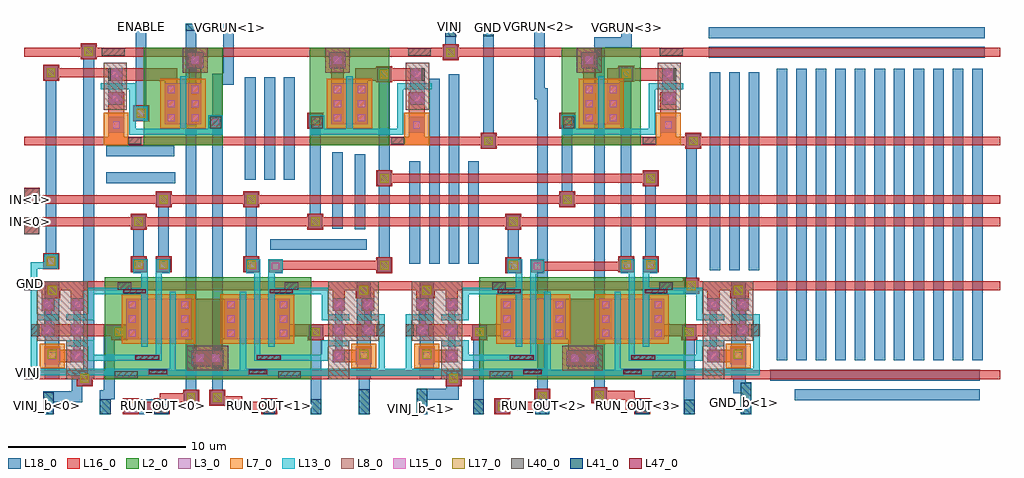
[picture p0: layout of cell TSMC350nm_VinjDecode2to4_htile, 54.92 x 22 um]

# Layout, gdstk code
from math import pi, radians
import gdstk
lib = gdstk.Library(unit=1e-6, precision=1e-09)
def R(c, l, rs):  # rectangles x0, y0, x1, y1
    for r in rs: c.add(gdstk.rectangle(r[:2], r[2:], *l))
def A(c, l, x, y, w, h, nx, ny, dx, dy):  # array of equal rectangles
    R(c, l, [(x+i*dx, y+j*dy, x+i*dx+w, y+j*dy+h) for i in range(nx) for j in range(ny)])
def P(c, l, *ps):  # polygons
    for p in ps: c.add(gdstk.Polygon(p, *l))
L2_0 = (2, 0)
L3_0 = (3, 0)
L7_0 = (7, 0)
L8_0 = (8, 0)
L13_0 = (13, 0)
L15_0 = (15, 0)
L16_0 = (16, 0)
L17_0 = (17, 0)
L18_0 = (18, 0)
L40_0 = (40, 0)
L41_0 = (41, 0)
L47_0 = (47, 0)

m1_poly1__190324780_cdns = lib.new_cell('M1_POLY1$$190324780_CDNS_745518787550')
R(m1_poly1__190324780_cdns, L13_0, [(-0.4,-0.4,0.4,0.4)])
R(m1_poly1__190324780_cdns, L15_0, [(-0.2,-0.2,0.2,0.2)])
R(m1_poly1__190324780_cdns, L16_0, [(-0.35,-0.35,0.35,0.35)])

tsmc350nm_vinjinv2 = lib.new_cell('TSMC350nm_VinjInv2')
R(tsmc350nm_vinjinv2, L2_0, [(0,0,4.45,5.5)])
R(tsmc350nm_vinjinv2, L3_0, [(5.55,0.7,6.45,1.6), (1.2,1.2,1.9,3.5), (1.2,1.2,1.9,3.5), (1.9,1.2,2.55,3.5), (2.55,1.2,3.25,3.5), (2.55,1.2,3.25,3.5), (5.65,2.3,6.45,3), (5.65,2.3,6.45,3), (5.65,3,6.45,3.65), (5.65,3.65,6.45,4.35), (5.65,3.65,6.45,4.35), (1.1,4.35,2,5.25)])
R(tsmc350nm_vinjinv2, L7_0, [(5.3,0,6.7,1.85), (0.95,0.95,3.5,3.75)])
R(tsmc350nm_vinjinv2, L8_0, [(5.4,2,6.7,4.65), (0.85,4.1,2.25,5.5)])
R(tsmc350nm_vinjinv2, L13_0, [(0,0.6,5.25,0.95), (4.9,0.6,5.25,3.5), (2.05,0.8,2.4,3.9), (5.25,3.15,6.85,3.5)])
A(tsmc350nm_vinjinv2, L15_0, 1.35, 1.35, 0.4, 0.4, 1, 3, 0, 0.8)
A(tsmc350nm_vinjinv2, L15_0, 2.7, 1.35, 0.4, 0.4, 1, 3, 0, 0.8)
R(tsmc350nm_vinjinv2, L15_0, [(5.8,0.95,6.2,1.35), (5.85,2.45,6.25,2.85), (5.85,3.8,6.25,4.2), (1.35,4.6,1.75,5)])
R(tsmc350nm_vinjinv2, L16_0, [(0,0,7.65,0.5), (5.55,0.02,6.45,3), (1.2,1.2,1.9,3.5), (1.2,1.2,1.9,5.45), (2.55,1.2,3.25,3.5), (2.55,1.2,3.25,4.25), (5.65,2.3,6.45,3), (2.55,3.65,6.45,4.35), (5.65,3.65,6.45,4.35), (0,5,7.65,5.5)])
R(tsmc350nm_vinjinv2, L40_0, [(4.57,0.06,5.32,0.47), (0.07,0.97,0.71,1.62), (6.3,3.65,6.45,4.35), (5.52,5.05,6.8,5.46)])
tsmc350nm_vinjinv2.add(gdstk.Reference(m1_poly1__190324780_cdns, (0.4,1.3)))
tsmc350nm_vinjinv2.add(gdstk.Label('& SerialNumber 000000', (5.65,3.5), layer=16, texttype=0))
tsmc350nm_vinjinv2.add(gdstk.Label('& Distributor VIS', (5.65,3.5), layer=16, texttype=0))
tsmc350nm_vinjinv2.add(gdstk.Label('& Metric 1', (5.65,3.5), layer=16, texttype=0))
tsmc350nm_vinjinv2.add(gdstk.Label('& Version    \t  1.7A', (5.65,3.5), layer=16, texttype=0))
tsmc350nm_vinjinv2.add(gdstk.Label('& PDKName     vis35cv', (5.65,3.5), layer=16, texttype=0))
tsmc350nm_vinjinv2.add(gdstk.Label('& Vendor VIS Corp.', (5.65,3.5), layer=16, texttype=0))
tsmc350nm_vinjinv2.add(gdstk.Label('& SerialNumber 000000', (2.05,1.2), layer=16, texttype=0))
tsmc350nm_vinjinv2.add(gdstk.Label('& Distributor VIS', (2.05,1.2), layer=16, texttype=0))
tsmc350nm_vinjinv2.add(gdstk.Label('& Metric 1', (2.05,1.2), layer=16, texttype=0))
tsmc350nm_vinjinv2.add(gdstk.Label('& Version    \t  1.7A', (2.05,1.2), layer=16, texttype=0))
tsmc350nm_vinjinv2.add(gdstk.Label('& PDKName     vis35cv', (2.05,1.2), layer=16, texttype=0))
tsmc350nm_vinjinv2.add(gdstk.Label('& Vendor VIS Corp.', (2.05,1.2), layer=16, texttype=0))
tsmc350nm_vinjinv2.add(gdstk.Label('& SerialNumber 000000', (2.05,1.2), layer=63, texttype=63))
tsmc350nm_vinjinv2.add(gdstk.Label('& Distributor VIS', (2.05,1.2), layer=63, texttype=63))
tsmc350nm_vinjinv2.add(gdstk.Label('& Metric 1', (2.05,1.2), layer=63, texttype=63))
tsmc350nm_vinjinv2.add(gdstk.Label('& Version    \t  1.7A', (2.05,1.2), layer=63, texttype=63))
tsmc350nm_vinjinv2.add(gdstk.Label('& PDKName     vis35cv', (2.05,1.2), layer=63, texttype=63))
tsmc350nm_vinjinv2.add(gdstk.Label('& Vendor VIS Corp.', (2.05,1.2), layer=63, texttype=63))
tsmc350nm_vinjinv2.add(gdstk.Label('& SerialNumber 000000', (5.65,3.5), layer=63, texttype=63))
tsmc350nm_vinjinv2.add(gdstk.Label('& Vendor VIS Corp.', (5.65,3.5), layer=63, texttype=63))
tsmc350nm_vinjinv2.add(gdstk.Label('& PDKName     vis35cv', (5.65,3.5), layer=63, texttype=63))
tsmc350nm_vinjinv2.add(gdstk.Label('& Version    \t  1.7A', (5.65,3.5), layer=63, texttype=63))
tsmc350nm_vinjinv2.add(gdstk.Label('& Metric 1', (5.65,3.5), layer=63, texttype=63))
tsmc350nm_vinjinv2.add(gdstk.Label('& Distributor VIS', (5.65,3.5), layer=63, texttype=63))
tsmc350nm_vinjinv2.add(gdstk.Label('OUT', (6.38,3.94), layer=40, texttype=0))
tsmc350nm_vinjinv2.add(gdstk.Label('Vinj', (6.17,5.25), layer=40, texttype=0))
tsmc350nm_vinjinv2.add(gdstk.Label('IN', (0.39,1.28), layer=40, texttype=0))
tsmc350nm_vinjinv2.add(gdstk.Label('VGND', (4.97,0.26), layer=40, texttype=0))

m1_pactive_cdns_71349154 = lib.new_cell('M1_PACTIVE_CDNS_713491541816')
R(m1_pactive_cdns_71349154, L3_0, [(-0.45,-0.45,0.45,0.45)])
R(m1_pactive_cdns_71349154, L7_0, [(-0.7,-0.7,0.7,0.7)])
R(m1_pactive_cdns_71349154, L15_0, [(-0.2,-0.2,0.2,0.2)])
R(m1_pactive_cdns_71349154, L16_0, [(-0.35,-0.35,0.35,0.35)])

m1_nwell_cdns_7134915418 = lib.new_cell('M1_NWELL_CDNS_713491541817')
R(m1_nwell_cdns_7134915418, L2_0, [(-0.65,-0.65,0.65,0.65)])
R(m1_nwell_cdns_7134915418, L3_0, [(-0.45,-0.45,0.45,0.45)])
R(m1_nwell_cdns_7134915418, L8_0, [(-0.7,-0.7,0.7,0.7)])
R(m1_nwell_cdns_7134915418, L15_0, [(-0.2,-0.2,0.2,0.2)])
R(m1_nwell_cdns_7134915418, L16_0, [(-0.35,-0.35,0.35,0.35)])

prog_periph_via2_cdns_74 = lib.new_cell('prog_periph_VIA2_CDNS_745518787551')
R(prog_periph_via2_cdns_74, L16_0, [(-0.45,-0.45,0.45,0.45)])
R(prog_periph_via2_cdns_74, L17_0, [(-0.25,-0.25,0.25,0.25)])
R(prog_periph_via2_cdns_74, L18_0, [(-0.4,-0.4,0.4,0.4)])

tsmc350nm_vinjnor3 = lib.new_cell('TSMC350nm_VinjNOR3')
R(tsmc350nm_vinjnor3, L2_0, [(0,0,6.06,5.5)])
A(tsmc350nm_vinjnor3, L3_0, 7.26, 0.95, 0.7, 0.7, 1, 3, 0, 1.45)
R(tsmc350nm_vinjnor3, L3_0, [(7.41,0.95,7.81,1.65), (8.91,0.95,9.61,1.65), (9.06,0.95,9.46,1.65), (1.2,0.97,1.9,3.27), (1.2,0.97,1.9,3.27), (1.9,0.97,4.85,3.27), (4.15,0.97,4.85,3.27), (4.15,0.97,4.85,3.27), (7.41,1.65,7.81,2.4), (9.06,1.65,9.46,2.4), (8.91,2.4,9.61,3.1), (9.06,2.4,9.46,3.1), (7.41,3.1,7.81,3.85), (7.41,3.85,7.81,4.55)])
R(tsmc350nm_vinjnor3, L7_0, [(0.95,0.72,5.11,3.52)])
P(tsmc350nm_vinjnor3, L8_0, [(8.21,5.5),(7.01,5.5),(7.01,0),(9.86,0),(9.86,3.35),(8.21,3.35)])
R(tsmc350nm_vinjnor3, L13_0, [(3.65,0.37,7.01,0.72), (6.66,0.37,7.01,2.2), (2.05,0.57,2.4,5.26), (2.85,0.57,3.2,4.47), (3.65,0.57,4,3.67), (7.01,1.85,8.21,2.2), (8.66,1.85,9.86,2.2), (9.86,1.85,10.21,5.26), (6.66,3.3,7.01,4.47), (7.01,3.3,8.21,3.65), (2.85,4.12,7.01,4.47), (2.05,4.92,10.21,5.27)])
A(tsmc350nm_vinjnor3, L15_0, 7.41, 1.1, 0.4, 0.4, 1, 3, 0, 1.45)
A(tsmc350nm_vinjnor3, L15_0, 1.35, 1.12, 0.4, 0.4, 1, 3, 0, 0.8)
A(tsmc350nm_vinjnor3, L15_0, 4.3, 1.12, 0.4, 0.4, 1, 3, 0, 0.8)
R(tsmc350nm_vinjnor3, L15_0, [(9.06,1.1,9.46,1.5), (9.06,2.55,9.46,2.95)])
A(tsmc350nm_vinjnor3, L16_0, 7.26, 0.95, 0.7, 0.7, 1, 3, 0, 1.45)
R(tsmc350nm_vinjnor3, L16_0, [(0,0,10.21,0.5), (7.26,0,7.96,1.65), (8.91,0,9.61,1.65), (8.91,0.95,9.61,1.65), (0.35,0.97,1.9,3.27), (1.2,0.97,1.9,3.27), (4.15,0.97,4.85,3.27), (0.35,1.2,1.05,5.5), (4.16,2.4,10.21,3.1), (8.91,2.4,9.61,3.1), (7.26,3.85,9.36,4.55), (0,5,10.21,5.5)])
R(tsmc350nm_vinjnor3, L18_0, [(8.62,0,9.42,0.1), (8.62,0,9.42,5.5)])
R(tsmc350nm_vinjnor3, L40_0, [(4.57,0.06,5.32,0.47), (9.75,2.41,10.2,3.09), (4.2,5.05,5.48,5.46)])
R(tsmc350nm_vinjnor3, L47_0, [(3.74,0.45,5.02,0.68), (3,4.16,4.35,4.4), (2.55,4.97,3.58,5.22)])
tsmc350nm_vinjnor3.add(gdstk.Reference(m1_pactive_cdns_71349154, (9.01,4.2)))
tsmc350nm_vinjnor3.add(gdstk.Reference(m1_nwell_cdns_7134915418, (0.7,4.32)))
tsmc350nm_vinjnor3.add(gdstk.Reference(prog_periph_via2_cdns_74, (9.02,4.1)))
tsmc350nm_vinjnor3.add(gdstk.Reference(prog_periph_via2_cdns_74, (9.02,0.5)))
tsmc350nm_vinjnor3.add(gdstk.Label('& SerialNumber 000000', (7.41,3.65), layer=16, texttype=0))
tsmc350nm_vinjnor3.add(gdstk.Label('& Distributor VIS', (7.41,3.65), layer=16, texttype=0))
tsmc350nm_vinjnor3.add(gdstk.Label('& Metric 1', (7.41,3.65), layer=16, texttype=0))
tsmc350nm_vinjnor3.add(gdstk.Label('& Version    \t  1.7A', (7.41,3.65), layer=16, texttype=0))
tsmc350nm_vinjnor3.add(gdstk.Label('& PDKName     vis35cv', (7.41,3.65), layer=16, texttype=0))
tsmc350nm_vinjnor3.add(gdstk.Label('& Vendor VIS Corp.', (7.41,3.65), layer=16, texttype=0))
tsmc350nm_vinjnor3.add(gdstk.Label('& SerialNumber 000000', (9.06,2.2), layer=16, texttype=0))
tsmc350nm_vinjnor3.add(gdstk.Label('& Distributor VIS', (9.06,2.2), layer=16, texttype=0))
tsmc350nm_vinjnor3.add(gdstk.Label('& Metric 1', (9.06,2.2), layer=16, texttype=0))
tsmc350nm_vinjnor3.add(gdstk.Label('& Version    \t  1.7A', (9.06,2.2), layer=16, texttype=0))
tsmc350nm_vinjnor3.add(gdstk.Label('& PDKName     vis35cv', (9.06,2.2), layer=16, texttype=0))
tsmc350nm_vinjnor3.add(gdstk.Label('& Vendor VIS Corp.', (9.06,2.2), layer=16, texttype=0))
tsmc350nm_vinjnor3.add(gdstk.Label('& SerialNumber 000000', (2.05,0.94), layer=16, texttype=0))
tsmc350nm_vinjnor3.add(gdstk.Label('& Distributor VIS', (2.05,0.94), layer=16, texttype=0))
tsmc350nm_vinjnor3.add(gdstk.Label('& Vendor VIS Corp.', (2.05,0.94), layer=16, texttype=0))
tsmc350nm_vinjnor3.add(gdstk.Label('& Version    \t  1.7A', (2.05,0.94), layer=16, texttype=0))
tsmc350nm_vinjnor3.add(gdstk.Label('& PDKName     vis35cv', (2.05,0.94), layer=16, texttype=0))
tsmc350nm_vinjnor3.add(gdstk.Label('& Metric 1', (2.05,0.94), layer=16, texttype=0))
tsmc350nm_vinjnor3.add(gdstk.Label('& SerialNumber 000000', (7.41,3.65), layer=63, texttype=63))
tsmc350nm_vinjnor3.add(gdstk.Label('& Distributor VIS', (7.41,3.65), layer=63, texttype=63))
tsmc350nm_vinjnor3.add(gdstk.Label('& Metric 1', (7.41,3.65), layer=63, texttype=63))
tsmc350nm_vinjnor3.add(gdstk.Label('& Version    \t  1.7A', (7.41,3.65), layer=63, texttype=63))
tsmc350nm_vinjnor3.add(gdstk.Label('& PDKName     vis35cv', (7.41,3.65), layer=63, texttype=63))
tsmc350nm_vinjnor3.add(gdstk.Label('& Vendor VIS Corp.', (7.41,3.65), layer=63, texttype=63))
tsmc350nm_vinjnor3.add(gdstk.Label('& SerialNumber 000000', (9.06,2.2), layer=63, texttype=63))
tsmc350nm_vinjnor3.add(gdstk.Label('& Distributor VIS', (9.06,2.2), layer=63, texttype=63))
tsmc350nm_vinjnor3.add(gdstk.Label('& Metric 1', (9.06,2.2), layer=63, texttype=63))
tsmc350nm_vinjnor3.add(gdstk.Label('& Version    \t  1.7A', (9.06,2.2), layer=63, texttype=63))
tsmc350nm_vinjnor3.add(gdstk.Label('& PDKName     vis35cv', (9.06,2.2), layer=63, texttype=63))
tsmc350nm_vinjnor3.add(gdstk.Label('& Vendor VIS Corp.', (9.06,2.2), layer=63, texttype=63))
tsmc350nm_vinjnor3.add(gdstk.Label('& Vendor VIS Corp.', (2.05,0.94), layer=63, texttype=63))
tsmc350nm_vinjnor3.add(gdstk.Label('& Metric 1', (2.05,0.94), layer=63, texttype=63))
tsmc350nm_vinjnor3.add(gdstk.Label('& PDKName     vis35cv', (2.05,0.94), layer=63, texttype=63))
tsmc350nm_vinjnor3.add(gdstk.Label('& Version    \t  1.7A', (2.05,0.94), layer=63, texttype=63))
tsmc350nm_vinjnor3.add(gdstk.Label('& SerialNumber 000000', (2.05,0.94), layer=63, texttype=63))
tsmc350nm_vinjnor3.add(gdstk.Label('& Distributor VIS', (2.05,0.94), layer=63, texttype=63))
tsmc350nm_vinjnor3.add(gdstk.Label('OUT', (10,2.75), layer=40, texttype=0))
tsmc350nm_vinjnor3.add(gdstk.Label('VGND', (4.97,0.26), layer=40, texttype=0))
tsmc350nm_vinjnor3.add(gdstk.Label('VINJ', (4.84,5.25), layer=40, texttype=0))
tsmc350nm_vinjnor3.add(gdstk.Label('NENABLE', (3.04,5.09), layer=47, texttype=0))
tsmc350nm_vinjnor3.add(gdstk.Label('IN1', (3.67,4.27), layer=47, texttype=0))
tsmc350nm_vinjnor3.add(gdstk.Label('IN2', (4.37,0.55), layer=47, texttype=0))

m2_m1_cdns_745518787552 = lib.new_cell('M2_M1_CDNS_745518787552')
R(m2_m1_cdns_745518787552, L16_0, [(-0.45,-0.45,0.45,0.45)])
R(m2_m1_cdns_745518787552, L17_0, [(-0.25,-0.25,0.25,0.25)])
R(m2_m1_cdns_745518787552, L18_0, [(-0.4,-0.4,0.4,0.4)])

tsmc350nm_vinjdecode2to4 = lib.new_cell('TSMC350nm_VinjDecode2to4_htile')
R(tsmc350nm_vinjdecode2to4, L2_0, [(4.54,7.49,16.16,7.72), (25.62,7.49,37.24,7.72)])
R(tsmc350nm_vinjdecode2to4, L13_0, [(4.54,2.17,37.24,2.22), (8.55,2.22,12.15,2.52), (20.31,2.22,21.47,2.57), (29.63,2.22,33.23,2.52), (0.39,5.64,0.74,8.35), (6.6,6.92,6.95,8.09), (7.4,6.92,7.75,8.09), (12.95,6.92,13.3,8.09), (13.75,6.92,14.1,8.09), (27.68,6.92,28.03,8.09), (28.48,6.92,28.83,8.09), (34.03,6.92,34.38,8.09), (34.83,6.92,35.18,8.09), (0.39,8.21,1.13,8.56)])
R(tsmc350nm_vinjdecode2to4, L16_0, [(0,1.99,0.39,2.49), (20.31,1.99,21.47,2.49), (10.25,2.49,10.45,6.52), (31.33,2.49,31.53,6.52), (20.31,6.99,21.47,7.49), (0,10.13,0.87,10.6), (0,12.35,0.9,12.75), (0,15.14,4.09,15.64), (37.91,15.14,54.92,15.64), (0,20.14,4.09,20.64), (37.91,20.14,54.92,20.64)])
R(tsmc350nm_vinjdecode2to4, L18_0, [(5.6,0,6.4,0.06), (6.4,0,7.34,0.86), (7.34,0,8.14,0.06), (16.13,0,16.73,0.85), (25.27,0,25.86,0.87), (28.77,0,29.57,0.61), (37.14,0,37.73,0.83), (4.27,0.86,5.1,1.37), (23.77,1.44,23.87,1.64), (40.52,1.8,40.6,1.99)])
P(tsmc350nm_vinjdecode2to4, L18_0, [(25.87,0),(25.87,4.34),(25.63,4.34),(25.63,4.94),(25.27,4.94),(25.27,0)])
R(tsmc350nm_vinjdecode2to4, L40_0, [(0,1.99,0.5,2.49), (0,6.99,0.51,7.49), (0,10.13,0.87,11.1), (0,11.85,0.9,12.74)])
R(tsmc350nm_vinjdecode2to4, L41_0, [(1.07,0,1.67,1.25), (4.27,0,4.87,0.86), (7.34,0,8.14,0.86), (13.5,0,14.1,0.86), (16.14,0,16.72,0.85), (18.85,0,19.45,1.41), (22.1,0,22.7,1.44), (25.28,0,25.87,0.87), (28.77,0,29.57,0.86), (34.39,0,35.19,0.86), (37.14,0,37.73,0.83), (40.32,0,40.92,1.79), (23.7,21.26,24.31,22), (25.84,21.28,26.44,22), (33.6,21.54,34.2,22), (9.1,21.59,9.7,22), (11.2,21.6,11.8,22), (6.29,21.66,6.89,22), (28.7,21.71,29.3,22)])
tsmc350nm_vinjdecode2to4.add(gdstk.FlexPath([(31.1,20.39),(24,20.39)], 0.5, ends="flush", simple_path=True, layer=16, datatype=0))  # L16_0
tsmc350nm_vinjdecode2to4.add(gdstk.FlexPath([(31.1,15.39),(26.14,15.39)], 0.5, ends="flush", simple_path=True, layer=16, datatype=0))  # L16_0
tsmc350nm_vinjdecode2to4.add(gdstk.FlexPath([(24,20.39),(23.74,20.39)], 0.5, ends="flush", simple_path=True, layer=16, datatype=0))  # L16_0
tsmc350nm_vinjdecode2to4.add(gdstk.FlexPath([(23.74,15.39),(26.14,15.39)], 0.5, ends="flush", simple_path=True, layer=16, datatype=0))  # L16_0
tsmc350nm_vinjdecode2to4.add(gdstk.FlexPath([(5.94,0.46),(7.9,0.46),(7.9,0.94)], 0.5, ends=(0, 0.25), simple_path=True, layer=16, datatype=0))  # L16_0
tsmc350nm_vinjdecode2to4.add(gdstk.FlexPath([(13.68,0.46),(12.03,0.46),(12.03,0.78)], 0.5, ends=(0, 0.25), simple_path=True, layer=16, datatype=0))  # L16_0
tsmc350nm_vinjdecode2to4.add(gdstk.FlexPath([(32.38,1.09),(34.11,1.09)], 0.5, ends=(0, 0.25), simple_path=True, layer=16, datatype=0))  # L16_0
tsmc350nm_vinjdecode2to4.add(gdstk.FlexPath([(12.03,0.78),(10.88,0.78)], 0.5, ends=(0.25, 0), simple_path=True, layer=16, datatype=0))  # L16_0
tsmc350nm_vinjdecode2to4.add(gdstk.FlexPath([(7.9,0.94),(9.4,0.94)], 0.5, ends=(0.25, 0), simple_path=True, layer=16, datatype=0))  # L16_0
tsmc350nm_vinjdecode2to4.add(gdstk.FlexPath([(34.11,1.09),(34.11,0.46),(34.88,0.46)], 0.5, ends=(0.25, 0), simple_path=True, layer=16, datatype=0))  # L16_0
tsmc350nm_vinjdecode2to4.add(gdstk.FlexPath([(29.17,1.01),(29.17,0.46),(26.94,0.46)], 0.5, ends="flush", simple_path=True, layer=16, datatype=0))  # L16_0
tsmc350nm_vinjdecode2to4.add(gdstk.FlexPath([(20.27,8.39),(14.15,8.39)], 0.5, ends=(0, 0.25), simple_path=True, layer=16, datatype=0))  # L16_0
tsmc350nm_vinjdecode2to4.add(gdstk.FlexPath([(35.26,13.3),(20.27,13.3)], 0.5, ends="flush", simple_path=True, layer=16, datatype=0))  # L16_0
tsmc350nm_vinjdecode2to4.add(gdstk.FlexPath([(4.84,19.24),(1.8,19.24)], 0.5, ends="flush", simple_path=True, layer=16, datatype=0))  # L16_0
tsmc350nm_vinjdecode2to4.add(gdstk.FlexPath([(14.15,8.39),(14.15,8.34)], 0.5, ends=(0.25, 0), simple_path=True, layer=16, datatype=0))  # L16_0
tsmc350nm_vinjdecode2to4.add(gdstk.FlexPath([(28.88,8.34),(33.98,8.34)], 0.5, ends="flush", simple_path=True, layer=16, datatype=0))  # L16_0
tsmc350nm_vinjdecode2to4.add(gdstk.FlexPath([(16.86,15.39),(9.5,15.39)], 0.5, ends="flush", simple_path=True, layer=16, datatype=0))  # L16_0
tsmc350nm_vinjdecode2to4.add(gdstk.FlexPath([(16.86,20.39),(9.5,20.39)], 0.5, ends="flush", simple_path=True, layer=16, datatype=0))  # L16_0
tsmc350nm_vinjdecode2to4.add(gdstk.FlexPath([(41.39,7.24),(54.92,7.24)], 0.5, ends="flush", simple_path=True, layer=16, datatype=0))  # L16_0
tsmc350nm_vinjdecode2to4.add(gdstk.FlexPath([(41.39,2.24),(54.92,2.24)], 0.5, ends="flush", simple_path=True, layer=16, datatype=0))  # L16_0
tsmc350nm_vinjdecode2to4.add(gdstk.FlexPath([(0,12.1),(54.92,12.1)], 0.5, ends="flush", simple_path=True, layer=16, datatype=0))  # L16_0
tsmc350nm_vinjdecode2to4.add(gdstk.FlexPath([(0,10.85),(54.92,10.85)], 0.5, ends="flush", simple_path=True, layer=16, datatype=0))  # L16_0
tsmc350nm_vinjdecode2to4.add(gdstk.FlexPath([(0.5,7.24),(0,7.24)], 0.5, ends="flush", simple_path=True, layer=16, datatype=0))  # L16_0
tsmc350nm_vinjdecode2to4.add(gdstk.FlexPath([(1.37,1.25),(1.37,1)], 0.6, ends=(0, 0.3), simple_path=True, layer=18, datatype=0))  # L18_0
tsmc350nm_vinjdecode2to4.add(gdstk.FlexPath([(2.98,2.04),(2.98,1)], 0.6, ends="extended", simple_path=True, layer=18, datatype=0))  # L18_0
tsmc350nm_vinjdecode2to4.add(gdstk.FlexPath([(2.98,1),(1.37,1)], 0.6, ends="extended", simple_path=True, layer=18, datatype=0))  # L18_0
tsmc350nm_vinjdecode2to4.add(gdstk.FlexPath([(1.37,1),(1.37,0)], 0.6, ends=(0.3, 0), simple_path=True, layer=18, datatype=0))  # L18_0
tsmc350nm_vinjdecode2to4.add(gdstk.FlexPath([(3.42,2.04),(2.98,2.04)], 0.6, ends=(0, 0.3), simple_path=True, layer=18, datatype=0))  # L18_0
tsmc350nm_vinjdecode2to4.add(gdstk.FlexPath([(40.62,1.5),(40.62,0)], 0.6, ends=(0.3, 0), simple_path=True, layer=18, datatype=0))  # L18_0
tsmc350nm_vinjdecode2to4.add(gdstk.FlexPath([(40.22,1.5),(40.62,1.5)], 0.6, ends="extended", simple_path=True, layer=18, datatype=0))  # L18_0
tsmc350nm_vinjdecode2to4.add(gdstk.FlexPath([(40.22,2.14),(40.22,1.5)], 0.6, ends=(0, 0.3), simple_path=True, layer=18, datatype=0))  # L18_0
tsmc350nm_vinjdecode2to4.add(gdstk.FlexPath([(22.4,1.14),(22.4,0)], 0.6, ends=(0.3, 0), simple_path=True, layer=18, datatype=0))  # L18_0
tsmc350nm_vinjdecode2to4.add(gdstk.FlexPath([(24.17,1.14),(22.4,1.14)], 0.6, ends="extended", simple_path=True, layer=18, datatype=0))  # L18_0
tsmc350nm_vinjdecode2to4.add(gdstk.FlexPath([(24.17,2.04),(24.17,1.14)], 0.6, ends=(0, 0.3), simple_path=True, layer=18, datatype=0))  # L18_0
tsmc350nm_vinjdecode2to4.add(gdstk.FlexPath([(19.15,2.06),(19.15,0)], 0.6, ends="flush", simple_path=True, layer=18, datatype=0))  # L18_0
tsmc350nm_vinjdecode2to4.add(gdstk.FlexPath([(3.64,20.43),(3.64,2.04)], 0.6, ends="flush", simple_path=True, layer=18, datatype=0))  # L18_0
tsmc350nm_vinjdecode2to4.add(gdstk.FlexPath([(24,20.39),(24,22)], 0.6, ends="flush", simple_path=True, layer=18, datatype=0))  # L18_0
tsmc350nm_vinjdecode2to4.add(gdstk.FlexPath([(26.14,15.39),(26.14,22)], 0.6, ends="flush", simple_path=True, layer=18, datatype=0))  # L18_0
tsmc350nm_vinjdecode2to4.add(gdstk.FlexPath([(9.4,1.02),(9.4,22)], 0.6, ends="flush", simple_path=True, layer=18, datatype=0))  # L18_0
tsmc350nm_vinjdecode2to4.add(gdstk.FlexPath([(13.8,0),(13.8,0.46)], 0.6, ends="flush", simple_path=True, layer=18, datatype=0))  # L18_0
tsmc350nm_vinjdecode2to4.add(gdstk.FlexPath([(10.88,18.58),(10.88,0.92)], 0.6, ends=(0.3, 0), simple_path=True, layer=18, datatype=0))  # L18_0
tsmc350nm_vinjdecode2to4.add(gdstk.FlexPath([(32.38,20.93),(32.38,1.09)], 0.6, ends=(0.3, 0), simple_path=True, layer=18, datatype=0))  # L18_0
tsmc350nm_vinjdecode2to4.add(gdstk.FlexPath([(26.9,0.46),(26.9,0)], 0.6, ends="flush", simple_path=True, layer=18, datatype=0))  # L18_0
tsmc350nm_vinjdecode2to4.add(gdstk.FlexPath([(29.17,18.05),(29.17,1.01)], 0.6, ends=(0.3, 0), simple_path=True, layer=18, datatype=0))  # L18_0
tsmc350nm_vinjdecode2to4.add(gdstk.FlexPath([(34.8,0),(34.8,0.46)], 0.6, ends="flush", simple_path=True, layer=18, datatype=0))  # L18_0
tsmc350nm_vinjdecode2to4.add(gdstk.FlexPath([(11.5,22),(11.5,18.86)], 0.6, ends=(0, 0.3), simple_path=True, layer=18, datatype=0))  # L18_0
tsmc350nm_vinjdecode2to4.add(gdstk.FlexPath([(11.5,18.86),(10.88,18.86)], 0.6, ends="extended", simple_path=True, layer=18, datatype=0))  # L18_0
tsmc350nm_vinjdecode2to4.add(gdstk.FlexPath([(10.88,18.86),(10.88,18.58)], 0.6, ends=(0.3, 0), simple_path=True, layer=18, datatype=0))  # L18_0
tsmc350nm_vinjdecode2to4.add(gdstk.FlexPath([(29,22),(29,18.05)], 0.6, ends=(0, 0.3), simple_path=True, layer=18, datatype=0))  # L18_0
tsmc350nm_vinjdecode2to4.add(gdstk.FlexPath([(29,18.05),(29.17,18.05)], 0.6, ends="extended", simple_path=True, layer=18, datatype=0))  # L18_0
tsmc350nm_vinjdecode2to4.add(gdstk.FlexPath([(33.9,22),(33.9,20.93)], 0.6, ends=(0, 0.3), simple_path=True, layer=18, datatype=0))  # L18_0
tsmc350nm_vinjdecode2to4.add(gdstk.FlexPath([(33.9,20.93),(32.38,20.93)], 0.6, ends="extended", simple_path=True, layer=18, datatype=0))  # L18_0
tsmc350nm_vinjdecode2to4.add(gdstk.FlexPath([(53.77,2.21),(41.99,2.21)], 0.6, ends="flush", simple_path=True, layer=18, datatype=0))  # L18_0
tsmc350nm_vinjdecode2to4.add(gdstk.FlexPath([(18.91,14.63),(18.91,10.41)], 0.6, ends="flush", simple_path=True, layer=18, datatype=0))  # L18_0
tsmc350nm_vinjdecode2to4.add(gdstk.FlexPath([(17.65,14.75),(17.65,10.45)], 0.6, ends="flush", simple_path=True, layer=18, datatype=0))  # L18_0
tsmc350nm_vinjdecode2to4.add(gdstk.FlexPath([(4.63,14.83),(8.45,14.83)], 0.6, ends="flush", simple_path=True, layer=18, datatype=0))  # L18_0
tsmc350nm_vinjdecode2to4.add(gdstk.FlexPath([(4.63,13.32),(8.51,13.32)], 0.6, ends="flush", simple_path=True, layer=18, datatype=0))  # L18_0
tsmc350nm_vinjdecode2to4.add(gdstk.FlexPath([(13.87,9.57),(19.3,9.57)], 0.6, ends="flush", simple_path=True, layer=18, datatype=0))  # L18_0
tsmc350nm_vinjdecode2to4.add(gdstk.FlexPath([(38.53,21.48),(54.07,21.48)], 0.6, ends="flush", simple_path=True, layer=18, datatype=0))  # L18_0
tsmc350nm_vinjdecode2to4.add(gdstk.FlexPath([(38.53,20.38),(54.07,20.38)], 0.6, ends="flush", simple_path=True, layer=18, datatype=0))  # L18_0
tsmc350nm_vinjdecode2to4.add(gdstk.FlexPath([(43.38,1.11),(53.79,1.11)], 0.6, ends="flush", simple_path=True, layer=18, datatype=0))  # L18_0
tsmc350nm_vinjdecode2to4.add(gdstk.FlexPath([(12.73,13.22),(12.73,18.99)], 0.6, ends="flush", simple_path=True, layer=18, datatype=0))  # L18_0
tsmc350nm_vinjdecode2to4.add(gdstk.FlexPath([(13.83,13.22),(13.83,18.99)], 0.6, ends="flush", simple_path=True, layer=18, datatype=0))  # L18_0
tsmc350nm_vinjdecode2to4.add(gdstk.FlexPath([(14.93,13.22),(14.93,18.99)], 0.6, ends="flush", simple_path=True, layer=18, datatype=0))  # L18_0
tsmc350nm_vinjdecode2to4.add(gdstk.FlexPath([(41.08,8.11),(41.08,19.26)], 0.6, ends="flush", simple_path=True, layer=18, datatype=0))  # L18_0
tsmc350nm_vinjdecode2to4.add(gdstk.FlexPath([(39.98,8.11),(39.98,19.26)], 0.6, ends="flush", simple_path=True, layer=18, datatype=0))  # L18_0
tsmc350nm_vinjdecode2to4.add(gdstk.FlexPath([(38.88,8.11),(38.88,19.26)], 0.6, ends="flush", simple_path=True, layer=18, datatype=0))  # L18_0
tsmc350nm_vinjdecode2to4.add(gdstk.FlexPath([(25.29,8.47),(25.29,14.24)], 0.6, ends="flush", simple_path=True, layer=18, datatype=0))  # L18_0
tsmc350nm_vinjdecode2to4.add(gdstk.FlexPath([(24.19,8.47),(24.19,19.14)], 0.6, ends="flush", simple_path=True, layer=18, datatype=0))  # L18_0
tsmc350nm_vinjdecode2to4.add(gdstk.FlexPath([(23.09,8.47),(23.09,18.9)], 0.6, ends="flush", simple_path=True, layer=18, datatype=0))  # L18_0
tsmc350nm_vinjdecode2to4.add(gdstk.FlexPath([(21.99,8.47),(21.99,14.24)], 0.6, ends="flush", simple_path=True, layer=18, datatype=0))  # L18_0
tsmc350nm_vinjdecode2to4.add(gdstk.FlexPath([(42.65,3.04),(42.65,19.46)], 0.6, ends="flush", simple_path=True, layer=18, datatype=0))  # L18_0
tsmc350nm_vinjdecode2to4.add(gdstk.FlexPath([(43.75,3.04),(43.75,19.46)], 0.6, ends="flush", simple_path=True, layer=18, datatype=0))  # L18_0
tsmc350nm_vinjdecode2to4.add(gdstk.FlexPath([(49.25,3.04),(49.25,19.46)], 0.6, ends="flush", simple_path=True, layer=18, datatype=0))  # L18_0
tsmc350nm_vinjdecode2to4.add(gdstk.FlexPath([(51.45,3.04),(51.45,19.46)], 0.6, ends="flush", simple_path=True, layer=18, datatype=0))  # L18_0
tsmc350nm_vinjdecode2to4.add(gdstk.FlexPath([(52.55,3.04),(52.55,19.46)], 0.6, ends="flush", simple_path=True, layer=18, datatype=0))  # L18_0
tsmc350nm_vinjdecode2to4.add(gdstk.FlexPath([(37.56,15.39),(37.56,7.24)], 0.6, ends="flush", simple_path=True, layer=18, datatype=0))  # L18_0
tsmc350nm_vinjdecode2to4.add(gdstk.FlexPath([(20.27,19.15),(20.27,8.39)], 0.6, ends="flush", simple_path=True, layer=18, datatype=0))  # L18_0
tsmc350nm_vinjdecode2to4.add(gdstk.FlexPath([(35.26,8.71),(35.26,13.3)], 0.6, ends="flush", simple_path=True, layer=18, datatype=0))  # L18_0
tsmc350nm_vinjdecode2to4.add(gdstk.FlexPath([(33.88,19.18),(33.88,8.44)], 0.6, ends="flush", simple_path=True, layer=18, datatype=0))  # L18_0
tsmc350nm_vinjdecode2to4.add(gdstk.FlexPath([(1.52,8.62),(1.52,19.24)], 0.6, ends="flush", simple_path=True, layer=18, datatype=0))  # L18_0
tsmc350nm_vinjdecode2to4.add(gdstk.FlexPath([(6.59,16.54),(6.59,22)], 0.6, ends="flush", simple_path=True, layer=18, datatype=0))  # L18_0
tsmc350nm_vinjdecode2to4.add(gdstk.FlexPath([(6.45,8.44),(6.45,10.85)], 0.6, ends="flush", simple_path=True, layer=18, datatype=0))  # L18_0
tsmc350nm_vinjdecode2to4.add(gdstk.FlexPath([(53.65,3.04),(53.65,19.46)], 0.6, ends="flush", simple_path=True, layer=18, datatype=0))  # L18_0
tsmc350nm_vinjdecode2to4.add(gdstk.FlexPath([(4.57,0),(4.57,0.56)], 0.6, ends=(0, 0.3), simple_path=True, layer=18, datatype=0))  # L18_0
tsmc350nm_vinjdecode2to4.add(gdstk.FlexPath([(7.85,8.44),(7.85,12.1)], 0.6, ends="flush", simple_path=True, layer=18, datatype=0))  # L18_0
tsmc350nm_vinjdecode2to4.add(gdstk.FlexPath([(16.39,16.54),(16.39,10.85)], 0.6, ends="flush", simple_path=True, layer=18, datatype=0))  # L18_0
tsmc350nm_vinjdecode2to4.add(gdstk.FlexPath([(4.8,1.67),(4.8,5.04)], 0.6, ends=(0.3, 0), simple_path=True, layer=18, datatype=0))  # L18_0
tsmc350nm_vinjdecode2to4.add(gdstk.FlexPath([(16.43,0),(16.43,4.64)], 0.6, ends="flush", simple_path=True, layer=18, datatype=0))  # L18_0
tsmc350nm_vinjdecode2to4.add(gdstk.FlexPath([(37.43,0),(37.43,4.64)], 0.6, ends="flush", simple_path=True, layer=18, datatype=0))  # L18_0
tsmc350nm_vinjdecode2to4.add(gdstk.FlexPath([(12.79,8.44),(12.79,12.1)], 0.6, ends="flush", simple_path=True, layer=18, datatype=0))  # L18_0
tsmc350nm_vinjdecode2to4.add(gdstk.FlexPath([(27.53,8.39),(27.53,10.85)], 0.6, ends="flush", simple_path=True, layer=18, datatype=0))  # L18_0
tsmc350nm_vinjdecode2to4.add(gdstk.FlexPath([(30.56,12.1),(30.56,16.54)], 0.6, ends="flush", simple_path=True, layer=18, datatype=0))  # L18_0
tsmc350nm_vinjdecode2to4.add(gdstk.FlexPath([(50.35,3.04),(50.35,19.46)], 0.6, ends="flush", simple_path=True, layer=18, datatype=0))  # L18_0
tsmc350nm_vinjdecode2to4.add(gdstk.FlexPath([(45.95,3.04),(45.95,19.46)], 0.6, ends="flush", simple_path=True, layer=18, datatype=0))  # L18_0
tsmc350nm_vinjdecode2to4.add(gdstk.FlexPath([(44.85,3.04),(44.85,19.46)], 0.6, ends="flush", simple_path=True, layer=18, datatype=0))  # L18_0
tsmc350nm_vinjdecode2to4.add(gdstk.FlexPath([(47.05,3.04),(47.05,19.46)], 0.6, ends="flush", simple_path=True, layer=18, datatype=0))  # L18_0
tsmc350nm_vinjdecode2to4.add(gdstk.FlexPath([(48.15,3.04),(48.15,19.46)], 0.6, ends="flush", simple_path=True, layer=18, datatype=0))  # L18_0
tsmc350nm_vinjdecode2to4.add(gdstk.Reference(tsmc350nm_vinjinv2, (11.18,15.14), rotation=pi, x_reflection=True))
tsmc350nm_vinjdecode2to4.add(gdstk.Reference(tsmc350nm_vinjinv2, (30.26,15.14)))
tsmc350nm_vinjdecode2to4.add(gdstk.Reference(tsmc350nm_vinjinv2, (16.09,15.14)))
tsmc350nm_vinjdecode2to4.add(gdstk.Reference(tsmc350nm_vinjnor3, (31.68,7.49), rotation=pi))
tsmc350nm_vinjdecode2to4.add(gdstk.Reference(tsmc350nm_vinjnor3, (10.6,7.49), rotation=pi))
tsmc350nm_vinjdecode2to4.add(gdstk.Reference(tsmc350nm_vinjnor3, (31.18,7.49), x_reflection=True))
tsmc350nm_vinjdecode2to4.add(gdstk.Reference(tsmc350nm_vinjnor3, (10.1,7.49), x_reflection=True))
tsmc350nm_vinjdecode2to4.add(gdstk.Reference(m1_poly1__190324780_cdns, (27.63,8.34)))
tsmc350nm_vinjdecode2to4.add(gdstk.Reference(m1_poly1__190324780_cdns, (28.88,8.34)))
tsmc350nm_vinjdecode2to4.add(gdstk.Reference(m1_poly1__190324780_cdns, (6.55,8.34)))
tsmc350nm_vinjdecode2to4.add(gdstk.Reference(m1_poly1__190324780_cdns, (35.23,8.34)))
tsmc350nm_vinjdecode2to4.add(gdstk.Reference(m1_poly1__190324780_cdns, (7.8,8.34)))
tsmc350nm_vinjdecode2to4.add(gdstk.Reference(m1_poly1__190324780_cdns, (12.9,8.34)))
tsmc350nm_vinjdecode2to4.add(gdstk.Reference(m1_poly1__190324780_cdns, (33.98,8.34)))
tsmc350nm_vinjdecode2to4.add(gdstk.Reference(m1_poly1__190324780_cdns, (14.15,8.34)))
tsmc350nm_vinjdecode2to4.add(gdstk.Reference(m1_poly1__190324780_cdns, (1.53,8.61)))
tsmc350nm_vinjdecode2to4.add(gdstk.Reference(m1_poly1__190324780_cdns, (6.55,16.94)))
tsmc350nm_vinjdecode2to4.add(gdstk.Reference(prog_periph_via2_cdns_74, (7.74,0.46)))
tsmc350nm_vinjdecode2to4.add(gdstk.Reference(prog_periph_via2_cdns_74, (26.91,0.46)))
tsmc350nm_vinjdecode2to4.add(gdstk.Reference(prog_periph_via2_cdns_74, (34.79,0.46)))
tsmc350nm_vinjdecode2to4.add(gdstk.Reference(prog_periph_via2_cdns_74, (27.53,8.39)))
tsmc350nm_vinjdecode2to4.add(gdstk.Reference(prog_periph_via2_cdns_74, (12.79,12.1)))
tsmc350nm_vinjdecode2to4.add(gdstk.Reference(prog_periph_via2_cdns_74, (30.56,16.54)))
tsmc350nm_vinjdecode2to4.add(gdstk.Reference(prog_periph_via2_cdns_74, (27.53,10.85)))
tsmc350nm_vinjdecode2to4.add(gdstk.Reference(prog_periph_via2_cdns_74, (20.27,19.15)))
tsmc350nm_vinjdecode2to4.add(gdstk.Reference(prog_periph_via2_cdns_74, (12.8,8.44)))
tsmc350nm_vinjdecode2to4.add(gdstk.Reference(prog_periph_via2_cdns_74, (20.27,8.39)))
tsmc350nm_vinjdecode2to4.add(gdstk.Reference(prog_periph_via2_cdns_74, (30.56,12.1)))
tsmc350nm_vinjdecode2to4.add(gdstk.Reference(prog_periph_via2_cdns_74, (33.88,8.44)))
tsmc350nm_vinjdecode2to4.add(gdstk.Reference(prog_periph_via2_cdns_74, (35.26,13.3)))
tsmc350nm_vinjdecode2to4.add(gdstk.Reference(prog_periph_via2_cdns_74, (33.88,19.18)))
tsmc350nm_vinjdecode2to4.add(gdstk.Reference(prog_periph_via2_cdns_74, (20.27,13.3)))
tsmc350nm_vinjdecode2to4.add(gdstk.Reference(prog_periph_via2_cdns_74, (35.26,8.44)))
tsmc350nm_vinjdecode2to4.add(gdstk.Reference(prog_periph_via2_cdns_74, (1.52,8.62)))
tsmc350nm_vinjdecode2to4.add(gdstk.Reference(prog_periph_via2_cdns_74, (1.52,19.24)))
tsmc350nm_vinjdecode2to4.add(gdstk.Reference(prog_periph_via2_cdns_74, (3.64,20.43)))
tsmc350nm_vinjdecode2to4.add(gdstk.Reference(prog_periph_via2_cdns_74, (37.54,7.24)))
tsmc350nm_vinjdecode2to4.add(gdstk.Reference(prog_periph_via2_cdns_74, (37.66,15.39)))
tsmc350nm_vinjdecode2to4.add(gdstk.Reference(prog_periph_via2_cdns_74, (6.59,16.94)))
tsmc350nm_vinjdecode2to4.add(gdstk.Reference(prog_periph_via2_cdns_74, (6,0.46)))
tsmc350nm_vinjdecode2to4.add(gdstk.Reference(prog_periph_via2_cdns_74, (10.88,0.94)))
tsmc350nm_vinjdecode2to4.add(gdstk.Reference(prog_periph_via2_cdns_74, (5.37,4.64)))
tsmc350nm_vinjdecode2to4.add(gdstk.Reference(prog_periph_via2_cdns_74, (16.43,4.64)))
tsmc350nm_vinjdecode2to4.add(gdstk.Reference(prog_periph_via2_cdns_74, (37.43,4.64)))
tsmc350nm_vinjdecode2to4.add(gdstk.Reference(prog_periph_via2_cdns_74, (24,20.39)))
tsmc350nm_vinjdecode2to4.add(gdstk.Reference(prog_periph_via2_cdns_74, (26.14,15.39)))
tsmc350nm_vinjdecode2to4.add(gdstk.Reference(prog_periph_via2_cdns_74, (29.17,1.01)))
tsmc350nm_vinjdecode2to4.add(gdstk.Reference(prog_periph_via2_cdns_74, (32.38,1.09)))
tsmc350nm_vinjdecode2to4.add(gdstk.Reference(prog_periph_via2_cdns_74, (7.85,8.44)))
tsmc350nm_vinjdecode2to4.add(gdstk.Reference(prog_periph_via2_cdns_74, (6.45,10.85)))
tsmc350nm_vinjdecode2to4.add(gdstk.Reference(prog_periph_via2_cdns_74, (16.39,16.54)))
tsmc350nm_vinjdecode2to4.add(gdstk.Reference(prog_periph_via2_cdns_74, (7.85,12.1)))
tsmc350nm_vinjdecode2to4.add(gdstk.Reference(prog_periph_via2_cdns_74, (16.39,10.85)))
tsmc350nm_vinjdecode2to4.add(gdstk.Reference(prog_periph_via2_cdns_74, (6.45,8.44)))
tsmc350nm_vinjdecode2to4.add(gdstk.Reference(prog_periph_via2_cdns_74, (3.42,2.04)))
tsmc350nm_vinjdecode2to4.add(gdstk.Reference(prog_periph_via2_cdns_74, (9.4,0.94)))
tsmc350nm_vinjdecode2to4.add(gdstk.Reference(prog_periph_via2_cdns_74, (13.8,0.46)))
tsmc350nm_vinjdecode2to4.add(gdstk.Reference(prog_periph_via2_cdns_74, (25.63,4.64)))
tsmc350nm_vinjdecode2to4.add(gdstk.Reference(m2_m1_cdns_745518787552, (24.17,2.04)))
tsmc350nm_vinjdecode2to4.add(gdstk.Label('IN<1>', (0.38,12.11), layer=40, texttype=0))
tsmc350nm_vinjdecode2to4.add(gdstk.Label('IN<0>', (0.38,10.86), layer=40, texttype=0))
tsmc350nm_vinjdecode2to4.add(gdstk.Label('VINJ', (0.27,2.37), layer=40, texttype=0))
tsmc350nm_vinjdecode2to4.add(gdstk.Label('GND', (0.35,7.36), layer=40, texttype=0))
tsmc350nm_vinjdecode2to4.add(gdstk.Label('VINJ', (24,21.83), layer=18, texttype=0))
tsmc350nm_vinjdecode2to4.add(gdstk.Label('GND', (26.16,21.79), layer=18, texttype=0))
tsmc350nm_vinjdecode2to4.add(gdstk.Label('GND_b<1>', (40.56,0.69), layer=41, texttype=0))
tsmc350nm_vinjdecode2to4.add(gdstk.Label('VINJ_b<1>', (22.38,0.32), layer=41, texttype=0))
tsmc350nm_vinjdecode2to4.add(gdstk.Label('GND_b<0>', (19.12,0.31), layer=41, texttype=0))
tsmc350nm_vinjdecode2to4.add(gdstk.Label('VINJ_b<0>', (1.33,0.52), layer=41, texttype=0))
tsmc350nm_vinjdecode2to4.add(gdstk.Label('VINJV', (24.02,21.61), layer=41, texttype=0))
tsmc350nm_vinjdecode2to4.add(gdstk.Label('GNDV', (26.14,21.66), layer=41, texttype=0))
tsmc350nm_vinjdecode2to4.add(gdstk.Label('RUN_OUT<3>', (34.56,0.49), layer=41, texttype=0))
tsmc350nm_vinjdecode2to4.add(gdstk.Label('RUN_OUT<2>', (29.27,0.48), layer=41, texttype=0))
tsmc350nm_vinjdecode2to4.add(gdstk.Label('RUN_OUT<1>', (13.8,0.48), layer=41, texttype=0))
tsmc350nm_vinjdecode2to4.add(gdstk.Label('RUN_OUT<0>', (7.83,0.53), layer=41, texttype=0))
tsmc350nm_vinjdecode2to4.add(gdstk.Label('ENABLE', (6.61,21.81), layer=41, texttype=0))
tsmc350nm_vinjdecode2to4.add(gdstk.Label('OUT<2>', (25.58,0.37), layer=41, texttype=0))
tsmc350nm_vinjdecode2to4.add(gdstk.Label('OUT<3>', (37.44,0.32), layer=41, texttype=0))
tsmc350nm_vinjdecode2to4.add(gdstk.Label('OUT<0>', (4.51,0.35), layer=41, texttype=0))
tsmc350nm_vinjdecode2to4.add(gdstk.Label('OUT<1>', (16.44,0.34), layer=41, texttype=0))
tsmc350nm_vinjdecode2to4.add(gdstk.Label('VGRUN<0>', (9.43,21.8), layer=41, texttype=0))
tsmc350nm_vinjdecode2to4.add(gdstk.Label('VGRUN<1>', (11.6,21.77), layer=41, texttype=0))
tsmc350nm_vinjdecode2to4.add(gdstk.Label('VGRUN<2>', (29.03,21.81), layer=41, texttype=0))
tsmc350nm_vinjdecode2to4.add(gdstk.Label('VGRUN<3>', (33.96,21.75), layer=41, texttype=0))

lib.write_gds('TSMC350nm_VinjDecode2to4_htile.gds')
